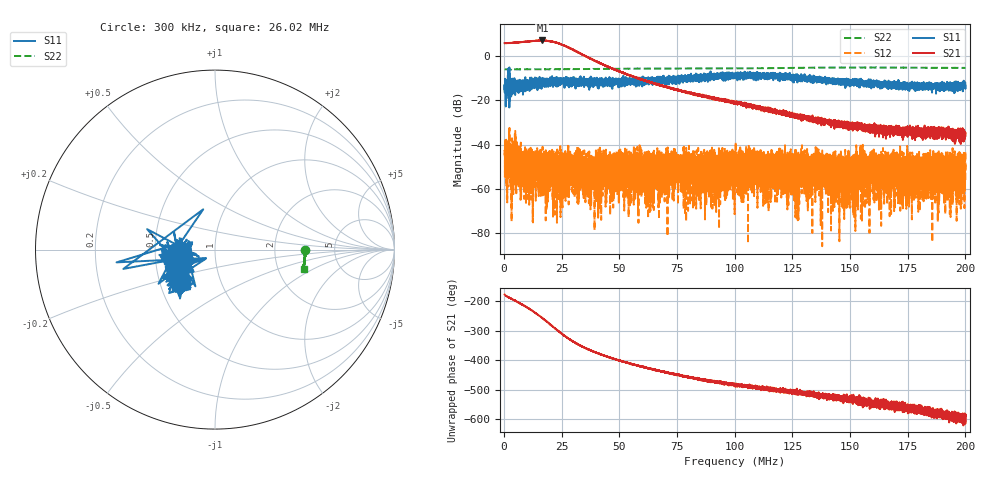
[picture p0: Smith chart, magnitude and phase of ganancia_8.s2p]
# Hz S DB R 50
! CMT, M5065, 19127446, 24.2.4/2
! Date: 11/8/2024 2:41:56 PM
! Data: Format (Calibration Info)
! Freq	S11:dB/Ang(F2)	S21:dB/Ang(F2)	S12:dB/Ang(F2)	S22:dB/Ang(F2)
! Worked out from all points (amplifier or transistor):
!   9000 points, 300 kHz to 200 MHz, reference 50 ohm
!   highest |S21| = 7.0 dB at 16.7 MHz (marker M1)
!   |S21| within 3 dB of that: start of sweep to 27.5 MHz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
!   unconditionally stable (mu >= 1): start of sweep to end of sweep
!   at 33.59 MHz: K = 158.36, MAG = 2.5 dB, |S12| = -54.1 dB
!   at 100.2 MHz: K = 779.62, MAG = -19.1 dB, |S12| = -46.7 dB
!   at 200 MHz: K = 12713.34, MAG = -33.0 dB, |S12| = -56.8 dB
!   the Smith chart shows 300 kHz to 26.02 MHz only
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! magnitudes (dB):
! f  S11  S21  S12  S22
! 300 kHz  -15.0  5.8  -42.8  -6.0
! 10.11 MHz  -12.4  6.6  -50.6  -6.0
! 16.7 MHz  -10.3  7.0  -52.0  -6.0
! 33.59 MHz  -11.9  0.9  -54.1  -5.9
! 36.8 MHz  -12.0  -0.8  -62.6  -5.8
! 43.35 MHz  -12.1  -4.1  -44.8  -5.8
! 47.03 MHz  -12.7  -5.8  -47.6  -5.8
! 51.05 MHz  -10.2  -7.3  -46.6  -5.8
! 66.87 MHz  -9.9  -13.1  -56.1  -5.7
! 100.2 MHz  -9.4  -21.0  -46.7  -5.6
! 133.4 MHz  -10.1  -28.8  -51.8  -5.3
! 150.4 MHz  -13.3  -31.4  -52.8  -5.2
! 155.3 MHz  -13.2  -31.1  -47.1  -5.2
! 157.5 MHz  -12.6  -32.0  -62.8  -5.2
! 159.5 MHz  -12.6  -34.5  -51.8  -5.2
! 166.7 MHz  -13.0  -33.3  -58.1  -5.2
! 183 MHz  -14.7  -33.8  -47.4  -5.3
! 185.1 MHz  -12.5  -32.0  -45.6  -5.3
! 189.7 MHz  -14.9  -34.6  -49.3  -5.4
! 191.1 MHz  -15.4  -35.7  -58.8  -5.3
! 198 MHz  -13.4  -33.9  -51.9  -5.4
! 200 MHz  -14.0  -34.7  -56.8  -5.4
